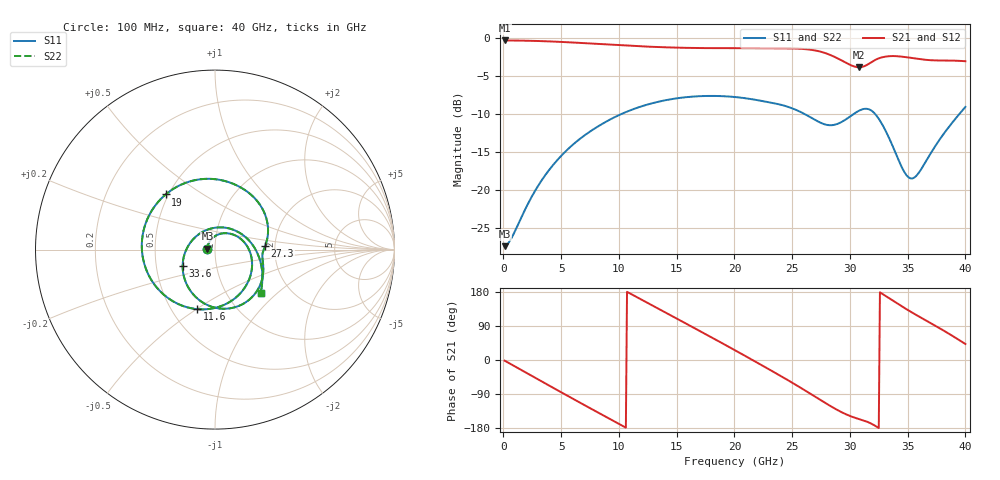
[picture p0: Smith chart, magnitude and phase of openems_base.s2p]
! P_ts6_finger_noplane: gold finger 0.7 × 2.1 mm between GND fingers (gap 0.3 mm), every plane cut back
! stackup: ThunderScope Rev5.3 6-layer (FR408HR / FR-4, from the board file)
! ports: 1, 2
! openEMS 0.37.0, staircase, base mesh (dfine 0.035 mm), 1225112 cells
# Hz S RI R 50
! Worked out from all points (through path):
!   400 points, 100 MHz to 40 GHz, reference 50 ohm
!   highest |S21| = -0.38 dB at 100 MHz (marker M1); lowest = -3.9 dB at 30.8 GHz (marker M2)
!   group delay of S21, straight-line fit = 46.7 ps
!   lowest |S11| = -27.4 dB at 100 MHz (marker M3), VSWR 1.09, Z = 45.9 + j0.419 ohm
!   |S11| at or under -10 dB: start of sweep to 10.27 GHz; 26.02 GHz to 30.36 GHz (4.337 GHz wide, 15.4 % of centre); 32.16 GHz to 39.5 GHz (7.337 GHz wide, 20.5 % of centre)
!   |S22| runs from -27.4 to -7.7 dB; largest |S21 - S12| = 0
!   S11 on the Smith chart (normalised r, x): 100 MHz: 0.92, +0.01; 11.6 GHz: 0.67, -0.50; 19 GHz: 0.48, +0.36; 27.3 GHz: 1.77, +0.08; 33.6 GHz: 0.68, -0.13; 40 GHz: 1.43, -0.79
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1e8  -0.0425 0.00456  0.9566 -0.0286  0.9566 -0.0286  -0.0425 0.00456
1.8e9  -0.00451 0.0722  0.8199 -0.4879  0.8199 -0.4879  -0.00451 0.0722
3.7e9  0.0937 0.0863  0.4273 -0.8433  0.4273 -0.8433  0.0937 0.0863
6.8e9  0.2068 -0.0794  -0.3959 -0.8308  -0.3959 -0.8308  0.2068 -0.0794
9.3e9  0.1157 -0.2676  -0.8261 -0.35  -0.8261 -0.35  0.1157 -0.2676
1.16e10  -0.0998 -0.3317  -0.8484 0.2263  -0.8484 0.2263  -0.0998 -0.3317
1.34e10  -0.2778 -0.2576  -0.6187 0.6063  -0.6187 0.6063  -0.2778 -0.2576
1.62e10  -0.4079 0.0226  0.00455 0.8549  0.00455 0.8549  -0.4079 0.0226
1.9e10  -0.2748 0.3072  0.6196 0.5846  0.6196 0.5846  -0.2748 0.3072
2.01e10  -0.1672 0.3706  0.773 0.3583  0.773 0.3583  -0.1672 0.3706
2.32e10  0.154 0.34  0.7488 -0.4007  0.7488 -0.4007  0.154 0.34
2.51e10  0.2788 0.1959  0.4024 -0.7455  0.4024 -0.7455  0.2788 0.1959
2.67e10  0.2905 0.0579  -0.0186 -0.8296  -0.0186 -0.8296  0.2905 0.0579
2.73e10  0.279 0.0195  -0.1781 -0.7938  -0.1781 -0.7938  0.279 0.0195
2.89e10  0.2652 -0.0549  -0.4866 -0.5474  -0.4866 -0.5474  0.2652 -0.0549
3.08e10  0.2248 -0.2434  -0.5828 -0.2603  -0.5828 -0.2603  0.2248 -0.2434
3.2e10  0.00733 -0.3252  -0.6898 -0.1173  -0.6898 -0.1173  0.00733 -0.3252
3.34e10  -0.1779 -0.1266  -0.7208 0.2233  -0.7208 0.2233  -0.1779 -0.1266
3.36e10  -0.1803 -0.0909  -0.7048 0.273  -0.7048 0.273  -0.1803 -0.0909
3.52e10  -0.0574 0.1047  -0.4589 0.5768  -0.4589 0.5768  -0.0574 0.1047
3.68e10  0.1331 0.096  -0.1307 0.6995  -0.1307 0.6995  0.1331 0.096
4e10  0.2537 -0.2419  0.5178 0.4696  0.5178 0.4696  0.2537 -0.2419
